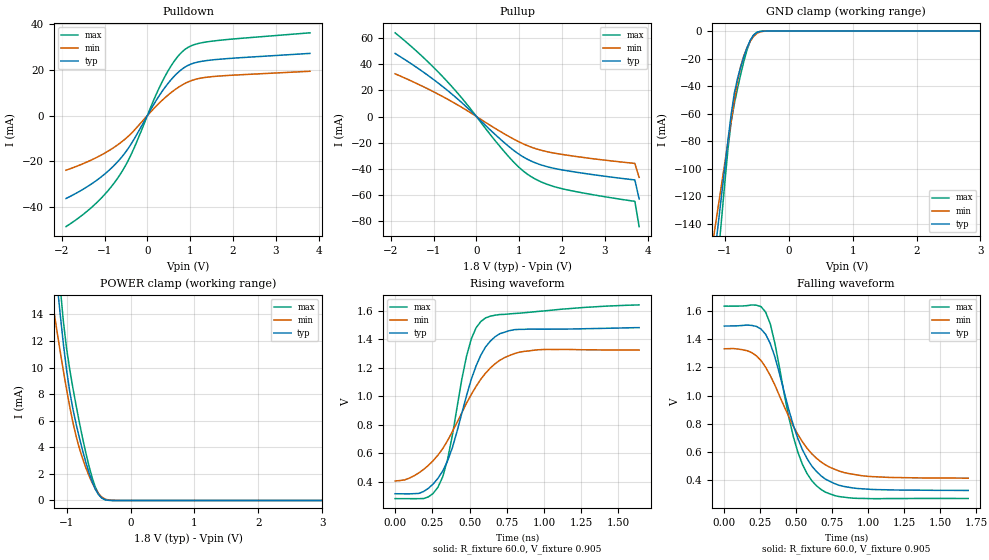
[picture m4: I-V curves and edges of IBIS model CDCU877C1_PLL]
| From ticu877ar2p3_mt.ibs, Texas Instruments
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[Model]   CDCU877C1_PLL
Model_type   Output
|SiSoft Hspice_diff tt tiu877ar2p3_sia_driver.mod tiu877ar2p3_sia_driver_typ
|SiSoft Hspice_diff ss tiu877ar2p3_sia_driver.mod tiu877ar2p3_sia_driver_max
|SiSoft Hspice_diff ff tiu877ar2p3_sia_driver.mod tiu877ar2p3_sia_driver_min
Vmeas =   0.905V
Cref  =   10pF
Rref  =   60.000Ohm   |Diff Termination 120ohm, or 60 ohms to Vref
Vref  =   0.905V
|   typ   min   max
C_comp   1.44pF   1.38pF   1.64pF
[Model Spec]
|  subparameter   typ   min   max
Vmeas   0.905V   0.869V   0.970V
|   typ   min   max
[Temperature Range]   40   105   0
[Voltage Range]   1.8V   1.7V   1.9V
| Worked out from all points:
|   slope of the pulldown table from 0 to 0.27 V, typ, clamps not added: 31.9 ohm
|   slope of the pullup table from 0 to 0.27 V, typ, clamps not added: 31.2 ohm
|   GND clamp passes 1 mA (typ) near -0.49 V on its own axis
|   POWER clamp passes 1 mA (typ) near -0.56 V on its own axis
|   rising waveform, R_fixture 60.0, V_fixture 0.905: 20-80 % time 206ps typ, 302ps min, 151ps max; typ from 0.318 V to 1.48 V
|   falling waveform, R_fixture 60.0, V_fixture 0.905: 20-80 % time 216ps typ, 283ps min, 179ps max; typ from 1.49 V to 0.327 V
[Pullup]
|  Voltage   I(typ)   I(min)   I(max)
-1.9V     48.29mA    32.72mA    64.12mA
-1.3V     35.4mA     23.8mA     47.06mA
-700mV    20.6mA     13.72mA    27.43mA
-250mV    7.853mA    5.187mA    10.47mA
650mV     -19.99mA   -13.24mA   -26.86mA
900mV     -26.67mA   -17.8mA    -35.92mA
1.1V      -31.07mA   -21.03mA   -41.92mA
1.45V     -36.38mA   -25.26mA   -49.13mA
1.9V      -40.28mA   -28.49mA   -54.45mA
2.65V     -44.18mA   -32.01mA   -59.47mA
3.7V      -48.56mA   -35.91mA   -64.96mA
3.8V      -63.12mA   -46.61mA   -84.29mA
[Pulldown]
|  Voltage   I(typ)   I(min)   I(max)
-1.9V     -36.13mA   -23.8mA    -48.38mA
-1.2V     -28.42mA   -18.37mA   -38.25mA
-900mV    -23.92mA   -15.3mA    -32.31mA
-650mV    -19.19mA   -12.15mA   -26.05mA
-300mV    -9.972mA   -6.288mA   -13.75mA
150mV     4.889mA    3.039mA    6.847mA
350mV     10.68mA    6.735mA    14.89mA
600mV     16.6mA     10.69mA    22.96mA
850mV     20.78mA    13.74mA    28.41mA
1.1V      22.95mA    15.68mA    30.94mA
1.45V     24.13mA    16.85mA    32.29mA
3.8V      27.11mA    19.32mA    36.07mA
[Power Clamp]
|  Voltage   I(typ)   I(min)   I(max)
-1.9V     58.12mA    37.62mA    76.79mA
-1.25V    21.57mA    15.87mA    26.04mA
-1.2V     18.95mA    14.29mA    22.48mA
-1.15V    16.41mA    12.73mA    19.12mA
-1.1V     14mA       11.21mA    16.05mA
-1.05V    11.76mA    9.736mA    13.45mA
-1V       9.796mA    8.335mA    11.42mA
-850mV    5.728mA    4.811mA    7.113mA
-700mV    2.896mA    2.478mA    3.596mA
-600mV    1.41mA     1.328mA    1.719mA
-450mV    184.6uA    259.8uA    195.6uA
3.8V      0A         0A         0A
[GND Clamp]
|  Voltage   I(typ)   I(min)   I(max)
-1.9V     -459mA     -372.7mA   -578.2mA
-1.2V     -179mA     -157.3mA   -214.2mA
-1.15V    -159mA     -141.9mA   -188.2mA
-1.1V     -139mA     -126.6mA   -162.2mA
-1.05V    -119.1mA   -111.2mA   -136.2mA
-950mV    -79.26mA   -80.43mA   -85.57mA
-900mV    -60.36mA   -65.13mA   -65.9mA
-850mV    -44.95mA   -50.14mA   -52.69mA
-700mV    -18.31mA   -17.68mA   -21.67mA
-600mV    -6.591mA   -7.327mA   -6.935mA
-500mV    -1.17mA    -1.81mA    -976.7uA
3.8V      0A         0A         0A
[Ramp]
|   typ   min   max
|dV/dt_r   0.7054/6.5305E-11   0.5547/9.5372E-11   0.7967/4.6725E-11
|dV/dt_f   0.7054/6.8631E-11   0.5547/8.9905E-11   0.7967/5.2828E-11
dV/dt_r   0.7054/2.0895E-10   0.5547/3.0534E-10   0.7967/1.4784E-10
dV/dt_f   0.7054/2.1966E-10   0.5547/2.8713E-10   0.7967/1.6919E-10
R_load = 152ohms  |120ohms + 1x channel impedance (HIGH+LOW)/2= 31.85ohms
| R_load = differential termination 120ohm channel to channel,
|   or single-ended with Rload to common mode voltage.
[Rising Waveform]
R_fixture = 60.0   | 1/2 of differential resistor
V_fixture = 0.905   | common mode voltage NOM
V_fixture_min = 0.869   | common mode voltage WEAK
V_fixture_max = 0.970   | common mode voltage STRONG
| time   V(typ)   V(min)   V(max)
0s        317.6mV    407mV      283.3mV
160ps     319.9mV    464.1mV    283.1mV
288ps     426mV      588.3mV    363.7mV
352ps     546.5mV    688.7mV    555.4mV
480ps     1.005V     953.1mV    1.282V
512ps     1.12V      1.013V     1.403V
576ps     1.288V     1.12V      1.524V
672ps     1.418V     1.228V     1.568V
832ps     1.469V     1.308V     1.582V
1.64ns    1.481V     1.324V     1.64V
[Falling Waveform]
R_fixture = 60.0   | 1/2 of differential resistor
V_fixture = 0.905   | common mode voltage NOM
V_fixture_min = 0.869   | common mode voltage WEAK
V_fixture_max = 0.970   | common mode voltage STRONG
|   time   V(typ)   V(min)   V(max)
0s        1.493V     1.331V     1.634V
192ps     1.497V     1.304V     1.643V
288ps     1.434V     1.201V     1.591V
352ps     1.274V     1.075V     1.371V
448ps     903mV      853.1mV    850.1mV
512ps     694.4mV    724mV      598mV
576ps     552.7mV    626.1mV    446.6mV
672ps     431.9mV    530.3mV    335mV
960ps     339.2mV    431.6mV    271.2mV
1.696ns   327.4mV    414.6mV    270.4mV
